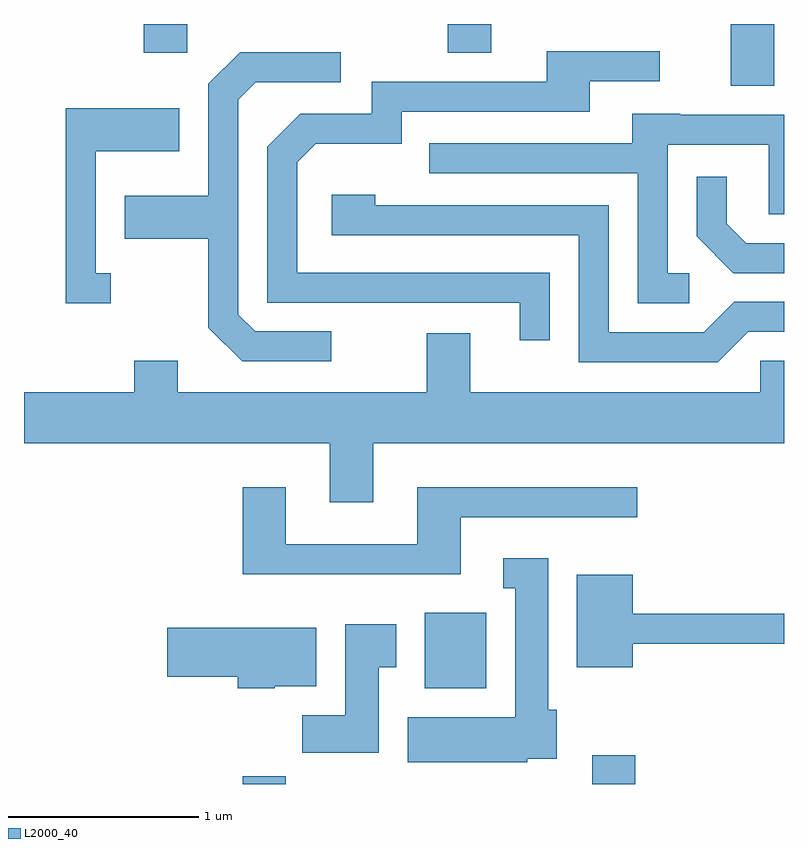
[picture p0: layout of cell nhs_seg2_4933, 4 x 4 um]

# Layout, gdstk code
import gdstk
lib = gdstk.Library(unit=1e-6, precision=1e-09)
def R(c, l, rs):  # rectangles x0, y0, x1, y1
    for r in rs: c.add(gdstk.rectangle(r[:2], r[2:], *l))
def P(c, l, *ps):  # polygons
    for p in ps: c.add(gdstk.Polygon(p, *l))
L2000_40 = (2000, 40)

nhs_seg2_4933 = lib.new_cell('nhs_seg2_4933')
R(nhs_seg2_4933, L2000_40, [(330.761,1099.802,330.989,1099.844), (332.601,1099.802,332.829,1099.954), (331.721,1100.306,332.044,1100.704), (333.331,1103.476,333.559,1103.802), (330.241,1103.651,330.469,1103.802), (331.841,1103.651,332.069,1103.802)])
P(nhs_seg2_4933, L2000_40, [(332.379,1102.494),(331.049,1102.494),(331.049,1103.074),(331.147,1103.171),(331.599,1103.171),(331.599,1103.341),(332.589,1103.341),(332.589,1103.501),(332.958,1103.501),(332.958,1103.659),(332.361,1103.659),(332.361,1103.499),(331.441,1103.499),(331.441,1103.329),(331.064,1103.329),(330.891,1103.157),(330.891,1102.336),(332.221,1102.336),(332.221,1102.138),(332.379,1102.138)],
  [(331.228,1102.184),(330.827,1102.184),(330.739,1102.272),(330.739,1103.404),(330.832,1103.496),(331.278,1103.496),(331.278,1103.654),(330.749,1103.654),(330.581,1103.487),(330.581,1102.899),(330.141,1102.899),(330.141,1102.671),(330.581,1102.671),(330.581,1102.204),(330.759,1102.026),(331.228,1102.026)],
  [(330.068,1102.489),(329.989,1102.489),(329.989,1103.131),(330.429,1103.131),(330.429,1103.359),(329.831,1103.359),(329.831,1102.331),(330.068,1102.331)],
  [(333.113,1102.489),(332.999,1102.489),(332.999,1103.166),(333.531,1103.166),(333.531,1102.801),(333.611,1102.801),(333.611,1103.324),(333.065,1103.324),(333.065,1103.329),(332.811,1103.329),(332.811,1103.174),(331.743,1103.174),(331.743,1103.016),(332.841,1103.016),(332.841,1102.331),(333.113,1102.331)],
  [(333.611,1102.649),(333.412,1102.649),(333.309,1102.752),(333.309,1102.998),(333.151,1102.998),(333.151,1102.684),(333.344,1102.491),(333.611,1102.491)],
  [(333.422,1102.181),(333.611,1102.181),(333.611,1102.339),(333.349,1102.339),(333.189,1102.179),(332.689,1102.179),(332.689,1102.849),(331.459,1102.849),(331.459,1102.904),(331.231,1102.904),(331.231,1102.691),(332.531,1102.691),(332.531,1102.021),(333.262,1102.021)],
  [(331.449,1101.596),(333.611,1101.596),(333.611,1102.029),(333.486,1102.029),(333.486,1101.864),(331.959,1101.864),(331.959,1102.174),(331.731,1102.174),(331.731,1101.864),(330.419,1101.864),(330.419,1102.029),(330.191,1102.029),(330.191,1101.864),(329.611,1101.864),(329.611,1101.596),(331.221,1101.596),(331.221,1101.286),(331.449,1101.286)],
  [(331.909,1101.206),(332.838,1101.206),(332.838,1101.364),(331.681,1101.364),(331.681,1101.064),(330.989,1101.064),(330.989,1101.364),(330.761,1101.364),(330.761,1100.906),(331.909,1100.906)],
  [(332.259,1099.936),(332.414,1099.936),(332.414,1100.194),(332.369,1100.194),(332.369,1100.989),(332.133,1100.989),(332.133,1100.831),(332.196,1100.831),(332.196,1100.154),(331.631,1100.154),(331.631,1099.916),(332.259,1099.916)],
  [(332.814,1100.541),(333.611,1100.541),(333.611,1100.699),(332.814,1100.699),(332.814,1100.904),(332.521,1100.904),(332.521,1100.416),(332.814,1100.416)],
  [(331.479,1100.416),(331.569,1100.416),(331.569,1100.644),(331.301,1100.644),(331.301,1100.164),(331.076,1100.164),(331.076,1099.966),(331.479,1099.966)],
  [(330.93,1100.316),(331.149,1100.316),(331.149,1100.624),(330.366,1100.624),(330.366,1100.366),(330.736,1100.366),(330.736,1100.306),(330.93,1100.306)])

lib.write_gds('nhs_seg2_4933.gds')
